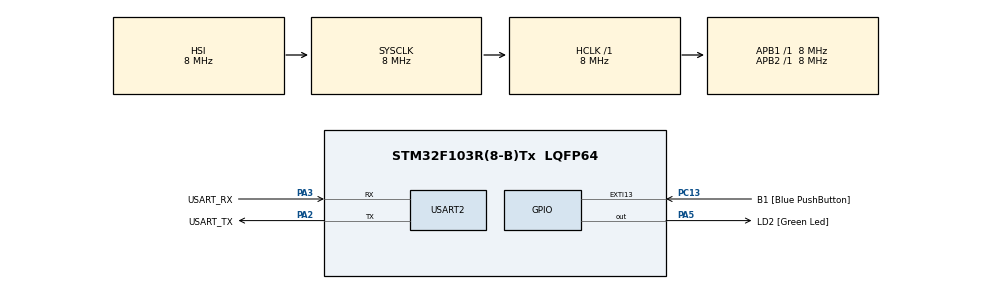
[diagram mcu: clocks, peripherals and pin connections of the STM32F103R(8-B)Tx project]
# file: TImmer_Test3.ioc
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Mcu.Family=STM32F1
Mcu.Name=STM32F103R(8-B)Tx
Mcu.Package=LQFP64
NVIC.EXTI15_10_IRQn=true\:0\:0\:false\:false\:true\:true\:true\:true
NVIC.PriorityGroup=NVIC_PRIORITYGROUP_4
NVIC.TIM1_CC_IRQn=true\:0\:0\:false\:false\:true\:true\:true\:true
NVIC.TIM1_UP_IRQn=true\:0\:0\:false\:false\:true\:true\:true\:true
PA13.GPIO_Label=TMS
PA13.Mode=Serial_Wire
PA13.Signal=SYS_JTMS-SWDIO
PA14.GPIO_Label=TCK
PA14.Mode=Serial_Wire
PA14.Signal=SYS_JTCK-SWCLK
PA2.GPIO_Label=USART_TX
PA2.GPIO_Mode=GPIO_MODE_AF_PP
PA2.GPIO_PuPd=GPIO_NOPULL
PA2.GPIO_Speed=GPIO_SPEED_FREQ_LOW
PA2.Mode=Asynchronous
PA2.Signal=USART2_TX
PA3.GPIO_Label=USART_RX
PA3.GPIO_Mode=GPIO_MODE_AF_PP
PA3.GPIO_PuPd=GPIO_NOPULL
PA3.GPIO_Speed=GPIO_SPEED_FREQ_LOW
PA3.Mode=Asynchronous
PA3.Signal=USART2_RX
PA5.GPIO_Label=LD2 [Green Led]
PA5.GPIO_ModeDefaultOutputPP=GPIO_MODE_OUTPUT_PP
PA5.GPIO_PuPd=GPIO_NOPULL
PA5.GPIO_Speed=GPIO_SPEED_FREQ_LOW
PA5.Signal=GPIO_Output
PB3.GPIO_Label=SWO
PB3.Signal=SYS_JTDO-TRACESWO
PC13-TAMPER-RTC.GPIO_Label=B1 [Blue PushButton]
PC13-TAMPER-RTC.GPIO_PuPd=GPIO_NOPULL
PC13-TAMPER-RTC.Signal=GPXTI13
PC14-OSC32_IN.Mode=LSE-External-Oscillator
PC14-OSC32_IN.Signal=RCC_OSC32_IN
PC15-OSC32_OUT.Mode=LSE-External-Oscillator
PC15-OSC32_OUT.Signal=RCC_OSC32_OUT
PD0-OSC_IN.Mode=HSE-External-Clock-Source
PD0-OSC_IN.Signal=RCC_OSC_IN
PD1-OSC_OUT.Mode=HSE-External-Clock-Source
PD1-OSC_OUT.Signal=RCC_OSC_OUT
ProjectManager.HeapSize=0x200
ProjectManager.StackSize=0x400
ProjectManager.TargetToolchain=STM32CubeIDE
RCC.AHBFreq_Value=8000000
RCC.APB1Freq_Value=8000000
RCC.APB1TimFreq_Value=8000000
RCC.APB2Freq_Value=8000000
RCC.APB2TimFreq_Value=8000000
RCC.HCLKFreq_Value=8000000
RCC.PLLMUL=RCC_PLL_MUL16
RCC.RTCClockSelection=RCC_RTCCLKSOURCE_LSE
RCC.SYSCLKFreq_VALUE=8000000
RCC.USBFreq_Value=64000000
USART2.VirtualMode=VM_ASYNC
VP_TIM1_VS_ClockSourceINT.Mode=Internal
board=NUCLEO-F103RB

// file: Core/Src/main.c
/* USER CODE BEGIN Header */
/**
  ******************************************************************************
  * @file           : main.c
  * @brief          : Main program body
  ******************************************************************************
  * @attention
  *
  * Copyright (c) 2024 STMicroelectronics.
  * All rights reserved.
  *
  * This software is licensed under terms that can be found in the LICENSE file
  * in the root directory of this software component.
  * If no LICENSE file comes with this software, it is provided AS-IS.
  *
  ******************************************************************************
  */
/* USER CODE END Header */
#include "main.h"

/* USER CODE BEGIN Includes */
#include<stdio.h>
/* USER CODE END Includes */

TIM_HandleTypeDef htim1;

UART_HandleTypeDef huart2;

void SystemClock_Config(void);
static void MX_GPIO_Init(void);
static void MX_USART2_UART_Init(void);
static void MX_TIM1_Init(void);
/* USER CODE BEGIN PFP */
#ifdef __GNUC__
#define PUTCHAR_PROTOTYPE int __io_putchar(int ch)
#else
#define PUTCHAR_PROTOTYPE int fputc(int ch, FILE *f)
#endif

PUTCHAR_PROTOTYPE
{
  HAL_UART_Transmit(&huart2, (uint8_t *)&ch, 1, HAL_MAX_DELAY);
  return ch;
}
/* USER CODE END PFP */

/* USER CODE BEGIN 0 */

uint32_t overflows = 0U;

void HAL_TIM_PeriodElapsedCallback(TIM_HandleTypeDef *htim) {
	if(htim->Instance == TIM1) {
		overflows++;
	}
}

uint32_t GetMicroSec(void){
	uint32_t count = __HAL_TIM_GET_COUNTER(&htim1);
	uint32_t overflow = overflows;
	if (__HAL_TIM_GET_FLAG(&htim1, TIM_FLAG_UPDATE) && (count < 0x8000)) {
	        overflow++;
	}

	return(overflow << 16) + count;
}

/* USER CODE END 0 */

int main(void)
{

  /* MCU Configuration--------------------------------------------------------*/

  /* Reset of all peripherals, Initializes the Flash interface and the Systick. */
  HAL_Init();

  /* Configure the system clock */
  SystemClock_Config();

  /* Initialize all configured peripherals */
  MX_GPIO_Init();
  MX_USART2_UART_Init();
  MX_TIM1_Init();

  /* Infinite loop */
  /* USER CODE BEGIN WHILE */
  HAL_TIM_Base_Init(&htim1);
  __HAL_TIM_SET_COUNTER(&htim1, 0);
  HAL_TIM_Base_Start_IT(&htim1);
  while (1)
  {
    /* USER CODE END WHILE */

    /* USER CODE BEGIN 3 */
	  uint32_t start = GetMicroSec();
	  HAL_Delay(100);
	  uint32_t end = GetMicroSec();
	  printf("\r\n aaa : %lu \r\n", end - start);
  }
  /* USER CODE END 3 */
}

void SystemClock_Config(void)
{
  RCC_OscInitTypeDef RCC_OscInitStruct = {0};
  RCC_ClkInitTypeDef RCC_ClkInitStruct = {0};

  /** Initializes the RCC Oscillators according to the specified parameters
  * in the RCC_OscInitTypeDef structure.
  */
  RCC_OscInitStruct.OscillatorType = RCC_OSCILLATORTYPE_HSI;
  RCC_OscInitStruct.HSIState = RCC_HSI_ON;
  RCC_OscInitStruct.HSICalibrationValue = RCC_HSICALIBRATION_DEFAULT;
  RCC_OscInitStruct.PLL.PLLState = RCC_PLL_NONE;
  if (HAL_RCC_OscConfig(&RCC_OscInitStruct) != HAL_OK)
  {
    Error_Handler();
  }

  /** Initializes the CPU, AHB and APB buses clocks
  */
  RCC_ClkInitStruct.ClockType = RCC_CLOCKTYPE_HCLK|RCC_CLOCKTYPE_SYSCLK
                              |RCC_CLOCKTYPE_PCLK1|RCC_CLOCKTYPE_PCLK2;
  RCC_ClkInitStruct.SYSCLKSource = RCC_SYSCLKSOURCE_HSI;
  RCC_ClkInitStruct.AHBCLKDivider = RCC_SYSCLK_DIV1;
  RCC_ClkInitStruct.APB1CLKDivider = RCC_HCLK_DIV1;
  RCC_ClkInitStruct.APB2CLKDivider = RCC_HCLK_DIV1;

  if (HAL_RCC_ClockConfig(&RCC_ClkInitStruct, FLASH_LATENCY_0) != HAL_OK)
  {
    Error_Handler();
  }
}

static void MX_TIM1_Init(void)
{

  TIM_ClockConfigTypeDef sClockSourceConfig = {0};
  TIM_MasterConfigTypeDef sMasterConfig = {0};

  htim1.Instance = TIM1;
  htim1.Init.Prescaler = 7;
  htim1.Init.CounterMode = TIM_COUNTERMODE_UP;
  htim1.Init.Period = 65535;
  htim1.Init.ClockDivision = TIM_CLOCKDIVISION_DIV1;
  htim1.Init.RepetitionCounter = 0;
  htim1.Init.AutoReloadPreload = TIM_AUTORELOAD_PRELOAD_DISABLE;
  if (HAL_TIM_Base_Init(&htim1) != HAL_OK)
  {
    Error_Handler();
  }
  sClockSourceConfig.ClockSource = TIM_CLOCKSOURCE_INTERNAL;
  if (HAL_TIM_ConfigClockSource(&htim1, &sClockSourceConfig) != HAL_OK)
  {
    Error_Handler();
  }
  sMasterConfig.MasterOutputTrigger = TIM_TRGO_RESET;
  sMasterConfig.MasterSlaveMode = TIM_MASTERSLAVEMODE_DISABLE;
  if (HAL_TIMEx_MasterConfigSynchronization(&htim1, &sMasterConfig) != HAL_OK)
  {
    Error_Handler();
  }

}

static void MX_USART2_UART_Init(void)
{

  huart2.Instance = USART2;
  huart2.Init.BaudRate = 115200;
  huart2.Init.WordLength = UART_WORDLENGTH_8B;
  huart2.Init.StopBits = UART_STOPBITS_1;
  huart2.Init.Parity = UART_PARITY_NONE;
  huart2.Init.Mode = UART_MODE_TX_RX;
  huart2.Init.HwFlowCtl = UART_HWCONTROL_NONE;
  huart2.Init.OverSampling = UART_OVERSAMPLING_16;
  if (HAL_UART_Init(&huart2) != HAL_OK)
  {
    Error_Handler();
  }

}

static void MX_GPIO_Init(void)
{
  GPIO_InitTypeDef GPIO_InitStruct = {0};

  /* GPIO Ports Clock Enable */
  __HAL_RCC_GPIOC_CLK_ENABLE();
  __HAL_RCC_GPIOD_CLK_ENABLE();
  __HAL_RCC_GPIOA_CLK_ENABLE();
  __HAL_RCC_GPIOB_CLK_ENABLE();

  /*Configure GPIO pin Output Level */
  HAL_GPIO_WritePin(LD2_GPIO_Port, LD2_Pin, GPIO_PIN_RESET);

  /*Configure GPIO pin : B1_Pin */
  GPIO_InitStruct.Pin = B1_Pin;
  GPIO_InitStruct.Mode = GPIO_MODE_IT_RISING;
  GPIO_InitStruct.Pull = GPIO_NOPULL;
  HAL_GPIO_Init(B1_GPIO_Port, &GPIO_InitStruct);

  /*Configure GPIO pin : LD2_Pin */
  GPIO_InitStruct.Pin = LD2_Pin;
  GPIO_InitStruct.Mode = GPIO_MODE_OUTPUT_PP;
  GPIO_InitStruct.Pull = GPIO_NOPULL;
  GPIO_InitStruct.Speed = GPIO_SPEED_FREQ_LOW;
  HAL_GPIO_Init(LD2_GPIO_Port, &GPIO_InitStruct);

  /* EXTI interrupt init*/
  HAL_NVIC_SetPriority(EXTI15_10_IRQn, 0, 0);
  HAL_NVIC_EnableIRQ(EXTI15_10_IRQn);

}

void Error_Handler(void)
{
  __disable_irq();
  while (1)
  {
  }
}
